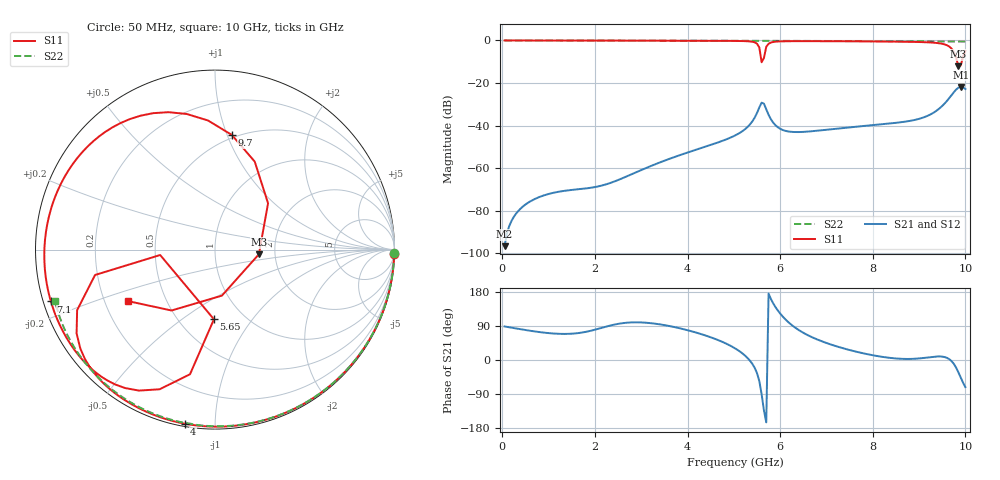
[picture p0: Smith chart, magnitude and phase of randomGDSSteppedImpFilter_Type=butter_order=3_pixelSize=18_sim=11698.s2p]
! freq	dB(S11)	phase(S11)	dB(S12)	phase(S12)
!  dB(S21)	phase(S21)	dB(S22)	phase(S22)
!S-par simulation data
#  GHz  S  DB  R 50
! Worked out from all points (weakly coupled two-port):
!   200 points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, 50 MHz to 10 GHz, reference 50 ohm
!   highest |S21| = -21.82 dB at 9.9 GHz (marker M1); lowest = -96.6 dB at 50 MHz (marker M2)
!   lowest |S11| = -12.2 dB at 9.85 GHz (marker M3), VSWR 1.65, Z = 82.2 - j4.56 ohm
!   |S11| at or under -10 dB: 5.598127 GHz to 5.606366 GHz (8.24 MHz wide, 0.147 % of centre); 9.823 GHz to 9.921 GHz (97.82 MHz wide, 0.991 % of centre)
!   |S22| runs from -0.5 to 0.0 dB; largest |S21 - S12| = 0
!   S11 on the Smith chart (normalised r, x): 50 MHz: 6, -86; 4 GHz: 0.01, -0.84; 5.65 GHz: 0.73, -0.67; 7.1 GHz: 0.02, -0.15; 9.7 GHz: 0.47, +1.04; 10 GHz: 0.30, -0.25
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0.05  -0.01 -1.3  -96.59 88.5  -96.59 88.5  -0.01 -1.0
1.75  -0.06 -45.5  -69.62 73.0  -69.62 73.0  -0.04 -32.7
3.4  -0.11 -85.8  -57.30 94.1  -57.30 94.1  -0.08 -61.9
4  -0.14 -99.9  -52.62 78.7  -52.62 78.7  -0.10 -72.0
5.05  -0.24 -126.9  -44.36 28.9  -44.36 28.9  -0.14 -89.1
5.35  -0.47 -139.9  -39.38 -2.2  -39.38 -2.2  -0.15 -93.8
5.5  -1.53 -156.3  -34.06 -34.5  -34.06 -34.5  -0.16 -96.1
5.55  -3.31 -168.1  -31.45 -55.7  -31.45 -55.7  -0.17 -96.9
5.6  -10.26 -174.4  -29.22 -90.3  -29.22 -90.3  -0.18 -97.7
5.65  -8.22 -90.9  -29.70 -133.1  -29.70 -133.1  -0.18 -98.4
5.7  -3.00 -101.3  -32.32 -164.6  -32.32 -164.6  -0.18 -99.1
5.8  -0.99 -118.3  -37.00 161.0  -37.00 161.0  -0.18 -100.7
6.1  -0.39 -135.7  -42.36 108.9  -42.36 108.9  -0.19 -105.2
6.7  -0.34 -152.7  -42.59 59.5  -42.59 59.5  -0.22 -114.2
7.1  -0.36 -162.5  -41.71 40.7  -41.71 40.7  -0.25 -120.1
8.35  -0.53 165.9  -39.03 5.9  -39.03 5.9  -0.35 -138.3
9.25  -0.95 132.9  -34.70 7.7  -34.70 7.7  -0.45 -151.3
9.5  -1.57 114.3  -30.74 8.9  -30.74 8.9  -0.49 -154.9
9.7  -3.80 81.7  -25.73 -2.7  -25.73 -2.7  -0.52 -157.8
9.85  -12.18 -6.1  -22.16 -32.8  -22.16 -32.8  -0.55 -159.9
9.9  -11.72 -81.4  -21.82 -46.8  -21.82 -46.8  -0.55 -160.6
10  -4.96 -149.5  -22.83 -71.6  -22.83 -71.6  -0.54 -162.1
